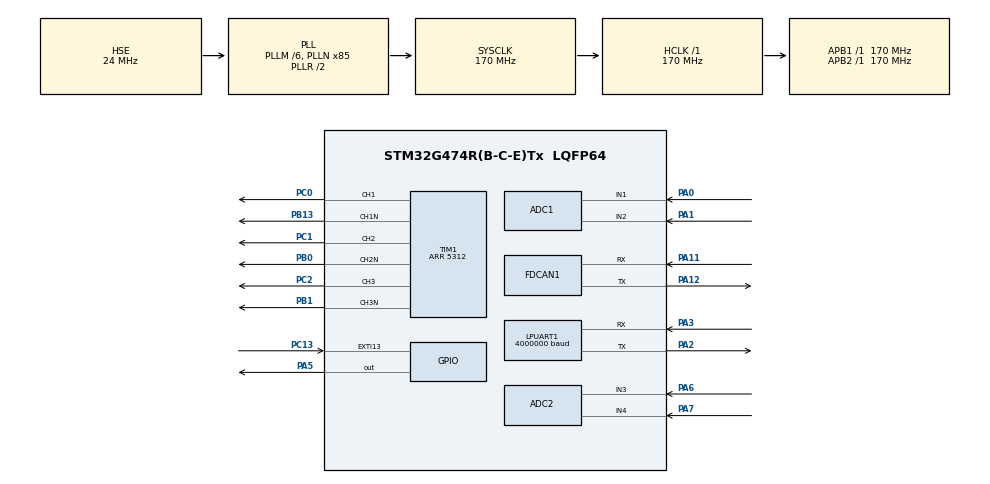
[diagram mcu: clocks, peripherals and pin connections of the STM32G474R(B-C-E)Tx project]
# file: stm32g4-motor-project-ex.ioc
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ADC1.Channel-0\#ChannelRegularConversion=ADC_CHANNEL_1
ADC1.EnableInjectedConversion=ENABLE
ADC1.EnableInjectedOversampling=ENABLE
ADC1.ExternalTrigInjecConv=ADC_EXTERNALTRIGINJEC_T1_CC4
ADC1.ExternalTrigInjecConvEdge=ADC_EXTERNALTRIGINJECCONV_EDGE_RISING
ADC1.InjNumberOfConversion=2
ADC1.InjOversamplingRatio=ADC_OVERSAMPLING_RATIO_8
ADC1.InjOversamplingRightShift=ADC_RIGHTBITSHIFT_3
ADC1.InjectedChannel-1\#ChannelInjectedConversion=ADC_CHANNEL_1
ADC1.InjectedChannel-2\#ChannelInjectedConversion=ADC_CHANNEL_2
ADC1.InjectedOffsetNumber-1\#ChannelInjectedConversion=ADC_OFFSET_NONE
ADC1.InjectedOffsetNumber-2\#ChannelInjectedConversion=ADC_OFFSET_NONE
ADC1.InjectedRank-1\#ChannelInjectedConversion=1
ADC1.InjectedRank-2\#ChannelInjectedConversion=2
ADC1.InjectedSamplingTime-1\#ChannelInjectedConversion=ADC_SAMPLETIME_6CYCLES_5
ADC1.InjectedSamplingTime-2\#ChannelInjectedConversion=ADC_SAMPLETIME_6CYCLES_5
ADC1.Mode=ADC_DUALMODE_INJECSIMULT
ADC1.NbrOfConversionFlag=1
ADC1.OffsetNumber-0\#ChannelRegularConversion=ADC_OFFSET_NONE
ADC1.Rank-0\#ChannelRegularConversion=1
ADC1.Rank1_Channel=ADC_CHANNEL_1
ADC1.Rank2_Channel=ADC_CHANNEL_2
ADC1.SamplingTime-0\#ChannelRegularConversion=ADC_SAMPLETIME_2CYCLES_5
ADC1.master=1
ADC2.Channel-4\#ChannelRegularConversion=ADC_CHANNEL_3
ADC2.EnableInjectedConversion=ENABLE
ADC2.EnableInjectedOversampling=ENABLE
ADC2.InjNumberOfConversion=2
ADC2.InjOversamplingRatio=ADC_OVERSAMPLING_RATIO_8
ADC2.InjOversamplingRightShift=ADC_RIGHTBITSHIFT_3
ADC2.InjectedChannel-5\#ChannelInjectedConversion=ADC_CHANNEL_3
ADC2.InjectedChannel-6\#ChannelInjectedConversion=ADC_CHANNEL_4
ADC2.InjectedOffsetNumber-5\#ChannelInjectedConversion=ADC_OFFSET_NONE
ADC2.InjectedOffsetNumber-6\#ChannelInjectedConversion=ADC_OFFSET_NONE
ADC2.InjectedRank-5\#ChannelInjectedConversion=1
ADC2.InjectedRank-6\#ChannelInjectedConversion=2
ADC2.InjectedSamplingTime-5\#ChannelInjectedConversion=ADC_SAMPLETIME_6CYCLES_5
ADC2.InjectedSamplingTime-6\#ChannelInjectedConversion=ADC_SAMPLETIME_6CYCLES_5
ADC2.Mode=ADC_DUALMODE_INJECSIMULT
ADC2.NbrOfConversionFlag=1
ADC2.OffsetNumber-4\#ChannelRegularConversion=ADC_OFFSET_NONE
ADC2.Rank-4\#ChannelRegularConversion=1
ADC2.Rank1_Channel=ADC_CHANNEL_3
ADC2.Rank2_Channel=ADC_CHANNEL_4
ADC2.SamplingTime-4\#ChannelRegularConversion=ADC_SAMPLETIME_2CYCLES_5
Dma.LPUART1_RX.0.Direction=DMA_PERIPH_TO_MEMORY
Dma.LPUART1_RX.0.EventEnable=DISABLE
Dma.LPUART1_RX.0.Instance=DMA1_Channel1
Dma.LPUART1_RX.0.MemDataAlignment=DMA_MDATAALIGN_BYTE
Dma.LPUART1_RX.0.MemInc=DMA_MINC_ENABLE
Dma.LPUART1_RX.0.Mode=DMA_NORMAL
Dma.LPUART1_RX.0.PeriphDataAlignment=DMA_PDATAALIGN_BYTE
Dma.LPUART1_RX.0.PeriphInc=DMA_PINC_DISABLE
Dma.LPUART1_RX.0.Polarity=HAL_DMAMUX_REQ_GEN_RISING
Dma.LPUART1_RX.0.Priority=DMA_PRIORITY_MEDIUM
Dma.LPUART1_RX.0.RequestNumber=1
Dma.LPUART1_RX.0.SignalID=NONE
Dma.LPUART1_RX.0.SyncEnable=DISABLE
Dma.LPUART1_RX.0.SyncPolarity=HAL_DMAMUX_SYNC_NO_EVENT
Dma.LPUART1_RX.0.SyncRequestNumber=1
Dma.LPUART1_RX.0.SyncSignalID=NONE
Dma.LPUART1_TX.1.Direction=DMA_MEMORY_TO_PERIPH
Dma.LPUART1_TX.1.EventEnable=DISABLE
Dma.LPUART1_TX.1.Instance=DMA1_Channel2
Dma.LPUART1_TX.1.MemDataAlignment=DMA_MDATAALIGN_BYTE
Dma.LPUART1_TX.1.MemInc=DMA_MINC_ENABLE
Dma.LPUART1_TX.1.Mode=DMA_NORMAL
Dma.LPUART1_TX.1.PeriphDataAlignment=DMA_PDATAALIGN_BYTE
Dma.LPUART1_TX.1.PeriphInc=DMA_PINC_DISABLE
Dma.LPUART1_TX.1.Polarity=HAL_DMAMUX_REQ_GEN_RISING
Dma.LPUART1_TX.1.Priority=DMA_PRIORITY_MEDIUM
Dma.LPUART1_TX.1.RequestNumber=1
Dma.LPUART1_TX.1.SignalID=NONE
Dma.LPUART1_TX.1.SyncEnable=DISABLE
Dma.LPUART1_TX.1.SyncPolarity=HAL_DMAMUX_SYNC_NO_EVENT
Dma.LPUART1_TX.1.SyncRequestNumber=1
Dma.LPUART1_TX.1.SyncSignalID=NONE
Dma.Request0=LPUART1_RX
Dma.Request1=LPUART1_TX
FDCAN1.AutoRetransmission=ENABLE
FDCAN1.CalculateBaudRateNominal=1062500
FDCAN1.CalculateTimeBitNominal=941
FDCAN1.CalculateTimeQuantumNominal=58.82352941176471
FDCAN1.Mode=FDCAN_MODE_INTERNAL_LOOPBACK
FDCAN1.NominalPrescaler=10
FDCAN1.NominalTimeSeg1=13
FDCAN1.StdFiltersNbr=1
LPUART1.BaudRate=4000000
LPUART1.FIFOMode=UART_FIFOMODE_ENABLE
Mcu.Family=STM32G4
Mcu.Name=STM32G474R(B-C-E)Tx
Mcu.Package=LQFP64
Mcu.UserConstants=PWM_FREQUENCY,16000;TIM_CLK_MHz,170
NVIC.ADC1_2_IRQn=true\:0\:0\:false\:false\:true\:false\:true\:true\:true
NVIC.DMA1_Channel1_IRQn=true\:0\:0\:false\:false\:true\:false\:false\:true\:true
NVIC.DMA1_Channel2_IRQn=true\:0\:0\:false\:false\:true\:false\:false\:true\:true
NVIC.EXTI15_10_IRQn=true\:11\:0\:true\:false\:true\:false\:true\:true\:true
NVIC.FDCAN1_IT0_IRQn=true\:5\:0\:true\:false\:true\:false\:true\:true\:true
NVIC.LPUART1_IRQn=true\:0\:0\:false\:false\:true\:false\:false\:true\:true
NVIC.PriorityGroup=NVIC_PRIORITYGROUP_4
NVIC.TIM1_UP_TIM16_IRQn=true\:0\:0\:false\:false\:true\:false\:true\:true\:true
NVIC.TIM2_IRQn=true\:10\:0\:true\:false\:true\:false\:true\:true\:true
NVIC.TIM5_IRQn=true\:15\:0\:false\:false\:true\:false\:false\:true\:true
NVIC.TimeBase=TIM5_IRQn
NVIC.TimeBaseIP=TIM5
PA0.Mode=IN1-Single-Ended
PA0.Signal=ADC1_IN1
PA1.Mode=IN2-Single-Ended
PA1.Signal=ADC1_IN2
PA11.GPIO_Speed=GPIO_SPEED_FREQ_VERY_HIGH
PA11.Mode=FDCAN_Activate
PA11.Signal=FDCAN1_RX
PA12.GPIO_Speed=GPIO_SPEED_FREQ_VERY_HIGH
PA12.Mode=FDCAN_Activate
PA12.Signal=FDCAN1_TX
PA13.Mode=Trace_Asynchronous_SW
PA13.Signal=SYS_JTMS-SWDIO
PA14.Mode=Trace_Asynchronous_SW
PA14.Signal=SYS_JTCK-SWCLK
PA2.GPIO_Speed=GPIO_SPEED_FREQ_VERY_HIGH
PA2.Mode=Asynchronous
PA2.Signal=LPUART1_TX
PA3.GPIO_Speed=GPIO_SPEED_FREQ_VERY_HIGH
PA3.Mode=Asynchronous
PA3.Signal=LPUART1_RX
PA5.Signal=GPIO_Output
PA6.Mode=IN3-Single-Ended
PA6.Signal=ADC2_IN3
PA7.Mode=IN4-Single-Ended
PA7.Signal=ADC2_IN4
PB0.GPIO_Speed=GPIO_SPEED_FREQ_HIGH
PB0.Mode=PWM Generation2 CH2 CH2N
PB0.Signal=TIM1_CH2N
PB1.GPIO_Speed=GPIO_SPEED_FREQ_HIGH
PB1.Mode=PWM Generation3 CH3 CH3N
PB1.Signal=TIM1_CH3N
PB13.GPIO_Speed=GPIO_SPEED_FREQ_HIGH
PB13.Mode=PWM Generation1 CH1 CH1N
PB13.Signal=TIM1_CH1N
PB3.Mode=Trace_Asynchronous_SW
PB3.Signal=SYS_JTDO-SWO
PC0.GPIO_Speed=GPIO_SPEED_FREQ_HIGH
PC0.Signal=S_TIM1_CH1
PC1.GPIO_Speed=GPIO_SPEED_FREQ_HIGH
PC1.Signal=S_TIM1_CH2
PC13.Signal=GPXTI13
PC2.GPIO_Speed=GPIO_SPEED_FREQ_HIGH
PC2.Signal=S_TIM1_CH3
PF0-OSC_IN.Mode=HSE-External-Oscillator
PF0-OSC_IN.Signal=RCC_OSC_IN
PF1-OSC_OUT.Mode=HSE-External-Oscillator
PF1-OSC_OUT.Signal=RCC_OSC_OUT
ProjectManager.HeapSize=0x200
ProjectManager.StackSize=0x400
ProjectManager.TargetToolchain=CMake
RCC.ADC12Freq_Value=170000000
RCC.ADC345Freq_Value=170000000
RCC.AHBFreq_Value=170000000
RCC.APB1Freq_Value=170000000
RCC.APB1TimFreq_Value=170000000
RCC.APB2Freq_Value=170000000
RCC.APB2TimFreq_Value=170000000
RCC.CK48CLockSelection=RCC_USBCLKSOURCE_HSI48
RCC.CortexFreq_Value=170000000
RCC.EXTERNAL_CLOCK_VALUE=12288000
RCC.HCLKFreq_Value=170000000
RCC.HSE_VALUE=24000000
RCC.HSI48_VALUE=48000000
RCC.HSI_VALUE=16000000
RCC.LSE_VALUE=32768
RCC.PLLM=RCC_PLLM_DIV6
RCC.PLLN=85
RCC.PLLSourceVirtual=RCC_PLLSOURCE_HSE
RCC.SYSCLKFreq_VALUE=170000000
RCC.SYSCLKSource=RCC_SYSCLKSOURCE_PLLCLK
RCC.USBFreq_Value=48000000
RCC.VCOOutputFreq_Value=340000000
SH.S_TIM1_CH1.0=TIM1_CH1,PWM Generation1 CH1 CH1N
SH.S_TIM1_CH2.0=TIM1_CH2,PWM Generation2 CH2 CH2N
SH.S_TIM1_CH3.0=TIM1_CH3,PWM Generation3 CH3 CH3N
STMicroelectronics.X-CUBE-AZRTOS-G4.2.0.0.FX_APP_MEM_POOL_SIZE=2048
STMicroelectronics.X-CUBE-AZRTOS-G4.2.0.0.FileXCcFileOoSystemJjFileXJjCore=true
STMicroelectronics.X-CUBE-AZRTOS-G4.2.0.0.TX_APP_CREATION=1
STMicroelectronics.X-CUBE-AZRTOS-G4.2.0.0.TX_APP_GENERATE_INIT_CODE=true
STMicroelectronics.X-CUBE-AZRTOS-G4.2.0.0.TX_APP_MEM_POOL_SIZE=8192
STMicroelectronics.X-CUBE-AZRTOS-G4.2.0.0.TX_APP_MUTEX_CREATION=1
STMicroelectronics.X-CUBE-AZRTOS-G4.2.0.0.ThreadXCcRTOSJjThreadXJjCore=true
STMicroelectronics.X-CUBE-AZRTOS-G4.2.0.0.ThreadXCcRTOSJjThreadXJjLowOoPowerOosupport=true
STMicroelectronics.X-CUBE-AZRTOS-G4.2.0.0.ThreadXCcRTOSJjThreadXJjPerformanceInfo=true
STMicroelectronics.X-CUBE-AZRTOS-G4.2.0.0.ThreadXCcRTOSJjThreadXJjTraceXOosupport=true
STMicroelectronics.X-CUBE-AZRTOS-G4.2.0.0.USBXCcUSBJjUSBXJjCoreSystem=true
STMicroelectronics.X-CUBE-AZRTOS-G4.2.0.0_IsAnAzureRtosMw=true
TIM1.AutoReloadPreload=TIM_AUTORELOAD_PRELOAD_ENABLE
TIM1.Channel-PWM\ Generation1\ CH1\ CH1N=TIM_CHANNEL_1
TIM1.Channel-PWM\ Generation2\ CH2\ CH2N=TIM_CHANNEL_2
TIM1.Channel-PWM\ Generation3\ CH3\ CH3N=TIM_CHANNEL_3
TIM1.Channel-PWM\ Generation4\ No\ Output=TIM_CHANNEL_4
TIM1.CounterMode=TIM_COUNTERMODE_CENTERALIGNED1
TIM1.DeadTime=85
TIM1.DeadTimePreload=ENABLE
TIM1.PeriodNoDither=5312
TIM1.PulseNoDither_4=5312-200
TIM1.RepetitionCounter=0
TIM1.TIM_MasterOutputTrigger=TIM_TRGO_OC4REF
TIM1.TIM_MasterOutputTrigger2=TIM_TRGO2_RESET
TIM1.TIM_MasterSlaveMode=TIM_MASTERSLAVEMODE_ENABLE
TIM2.PeriodNoDither=10000-1
TIM2.Prescaler=1700-1
VP_CORDIC_VS_CORDIC.Mode=CORDIC_Activate
VP_CRC_VS_CRC.Mode=CRC_Activate
VP_STMicroelectronics.X-CUBE-AZRTOS-G4_VS_FileOoSystemJjFileX_6.2.0_2.0.0.Mode=FileOoSystemJjFileX
VP_STMicroelectronics.X-CUBE-AZRTOS-G4_VS_RTOSJjThreadX_6.2.0_2.0.0.Mode=RTOSJjThreadX
VP_STMicroelectronics.X-CUBE-AZRTOS-G4_VS_USBJjUSBX_6.2.0_2.0.0.Mode=USBJjUSBX
VP_SYS_VS_DBSignals.Mode=DisableDeadBatterySignals
VP_SYS_VS_tim5.Mode=TIM5
VP_TIM1_VS_ClockSourceINT.Mode=Internal
VP_TIM1_VS_no_output4.Mode=PWM Generation4 No Output
VP_TIM2_VS_ClockSourceINT.Mode=Internal
board=custom

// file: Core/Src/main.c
/* USER CODE BEGIN Header */
/**
  ******************************************************************************
  * @file           : main.c
  * @brief          : Main program body
  ******************************************************************************
  * @attention
  *
  * Copyright (c) 2025 STMicroelectronics.
  * All rights reserved.
  *
  * This software is licensed under terms that can be found in the LICENSE file
  * in the root directory of this software component.
  * If no LICENSE file comes with this software, it is provided AS-IS.
  *
  ******************************************************************************
  */
/* USER CODE END Header */
#include "app_threadx.h"
#include "main.h"
#include "adc.h"
#include "cordic.h"
#include "crc.h"
#include "dma.h"
#include "fdcan.h"
#include "usart.h"
#include "tim.h"
#include "gpio.h"

/* USER CODE BEGIN Includes */

#include "vofa_com_threadx.h"
#include "motor_params.h"
#include "normalization.h"
#include "FOC_Loop.h"
#include "Current.h"

/* USER CODE END Includes */

/* USER CODE BEGIN PV */

volatile uint32_t g_Tcm1 = 0;
volatile uint32_t g_Tcm2 = 0;
volatile uint32_t g_Tcm3 = 0;

/* USER CODE END PV */

void SystemClock_Config(void);

int main(void)
{

  /* MCU Configuration--------------------------------------------------------*/

  /* Reset of all peripherals, Initializes the Flash interface and the Systick. */
  HAL_Init();

  /* Configure the system clock */
  SystemClock_Config();

  /* Initialize all configured peripherals */
  MX_GPIO_Init();
  MX_DMA_Init();
  MX_LPUART1_UART_Init();
  MX_CORDIC_Init();
  MX_TIM2_Init();
  MX_ADC2_Init();
  MX_TIM1_Init();
  MX_ADC1_Init();
  MX_FDCAN1_Init();
  MX_CRC_Init();
  /* USER CODE BEGIN 2 */

  /* ADC校准 */
  HAL_ADCEx_Calibration_Start(&hadc1, ADC_SINGLE_ENDED);  // 校准ADC1
  HAL_ADCEx_Calibration_Start(&hadc2, ADC_SINGLE_ENDED);  // 校准ADC2

  /* 启动双ADC注入通道中断模式：TIM1 CH4双边沿触发三相电流采样 */
  HAL_ADCEx_InjectedStart_IT(&hadc1);  // 启动ADC1
  HAL_ADCEx_InjectedStart_IT(&hadc2);  // 启动ADC2

  /* Initialize motor parameters */
  MotorParams_Init();   //初始化电机参数
  Normalization_Init(); //初始化归一化参数

  MotorParams_SetActiveMotor(MOTOR_0);
  Normalization_UpdateMotor(MOTOR_0);

  /* USER CODE END 2 */

  MX_ThreadX_Init();

  /* We should never get here as control is now taken by the scheduler */

  /* Infinite loop */
  while (1)
  {

  }
}

void SystemClock_Config(void)
{
  RCC_OscInitTypeDef RCC_OscInitStruct = {0};
  RCC_ClkInitTypeDef RCC_ClkInitStruct = {0};

  /** Configure the main internal regulator output voltage
  */
  HAL_PWREx_ControlVoltageScaling(PWR_REGULATOR_VOLTAGE_SCALE1_BOOST);

  /** Initializes the RCC Oscillators according to the specified parameters
  * in the RCC_OscInitTypeDef structure.
  */
  RCC_OscInitStruct.OscillatorType = RCC_OSCILLATORTYPE_HSE;
  RCC_OscInitStruct.HSEState = RCC_HSE_ON;
  RCC_OscInitStruct.PLL.PLLState = RCC_PLL_ON;
  RCC_OscInitStruct.PLL.PLLSource = RCC_PLLSOURCE_HSE;
  RCC_OscInitStruct.PLL.PLLM = RCC_PLLM_DIV6;
  RCC_OscInitStruct.PLL.PLLN = 85;
  RCC_OscInitStruct.PLL.PLLP = RCC_PLLP_DIV2;
  RCC_OscInitStruct.PLL.PLLQ = RCC_PLLQ_DIV2;
  RCC_OscInitStruct.PLL.PLLR = RCC_PLLR_DIV2;
  if (HAL_RCC_OscConfig(&RCC_OscInitStruct) != HAL_OK)
  {
    Error_Handler();
  }

  /** Initializes the CPU, AHB and APB buses clocks
  */
  RCC_ClkInitStruct.ClockType = RCC_CLOCKTYPE_HCLK|RCC_CLOCKTYPE_SYSCLK
                              |RCC_CLOCKTYPE_PCLK1|RCC_CLOCKTYPE_PCLK2;
  RCC_ClkInitStruct.SYSCLKSource = RCC_SYSCLKSOURCE_PLLCLK;
  RCC_ClkInitStruct.AHBCLKDivider = RCC_SYSCLK_DIV1;
  RCC_ClkInitStruct.APB1CLKDivider = RCC_HCLK_DIV1;
  RCC_ClkInitStruct.APB2CLKDivider = RCC_HCLK_DIV1;

  if (HAL_RCC_ClockConfig(&RCC_ClkInitStruct, FLASH_LATENCY_4) != HAL_OK)
  {
    Error_Handler();
  }
}

void HAL_TIM_PeriodElapsedCallback(TIM_HandleTypeDef *htim)
{
  if (htim->Instance == TIM5) {
    HAL_IncTick();
  }
  /* USER CODE BEGIN Callback 1 */

  if (htim->Instance == TIM1) {

      // TIM1更新中断 - FOC控制环测试
      uint32_t Tcm1, Tcm2, Tcm3;

      static bool skip_interrupt = false;
      skip_interrupt = !skip_interrupt;

      if (!skip_interrupt) {

        FOC_OpenLoopTest(3200.0f, &Tcm1, &Tcm2, &Tcm3);

        // 保存数据供vofa线程使用
        g_Tcm1 = Tcm1;
        g_Tcm2 = Tcm2;
        g_Tcm3 = Tcm3;

        // 将计算结果写入定时器
        __HAL_TIM_SET_COMPARE(&htim1, TIM_CHANNEL_1, Tcm1);
        __HAL_TIM_SET_COMPARE(&htim1, TIM_CHANNEL_2, Tcm2);
        __HAL_TIM_SET_COMPARE(&htim1, TIM_CHANNEL_3, Tcm3);

        // 动态调整ADC触发点以优化电流采样时序
        Update_ADC_Trigger_Point(Tcm1, Tcm2, Tcm3);

        tx_semaphore_put(&vofa_timer_semaphore);

      }

  }

  if (htim->Instance == TIM2) {

    // 信号量处理，直接释放信号
    //tx_semaphore_put(&vofa_timer_semaphore);

  }

  /* USER CODE END Callback 1 */
}

void Error_Handler(void)
{
  __disable_irq();
  while (1)
  {
  }
}
